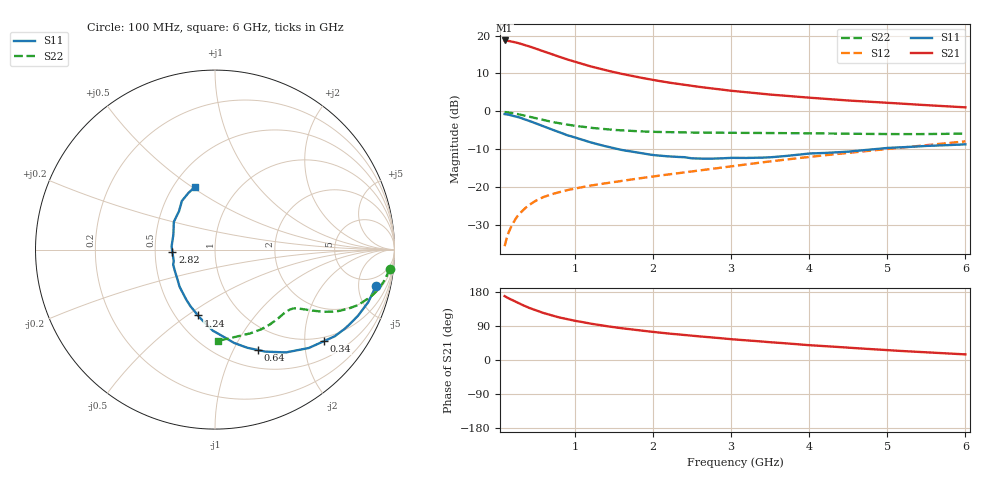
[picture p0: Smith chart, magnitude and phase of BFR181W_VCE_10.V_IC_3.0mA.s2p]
! Infineon Technologies  Discrete & RF Semiconductors
! BFR181W
! VCE =  10. V,  IC =  3.0 mA
! Common Emitter S-Parameters:  Nov 2015
# GHz  S  MA  R  50
!  f  S11  S21  S12  S22
! GHz  MAG  ANG  MAG  ANG  MAG  ANG  MAG  ANG
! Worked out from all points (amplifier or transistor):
!   192 points, 100 MHz to 6 GHz, reference 50 ohm
!   highest |S21| = 18.7 dB at 100 MHz (marker M1)
!   |S21| within 3 dB of that: start of sweep to 618 MHz
!   unconditionally stable (mu >= 1): 1.931 GHz to 3.528 GHz
!   at 440 MHz: K = 0.36, MSG = 20.7 dB, |S12| = -24.4 dB
!   at 1.7 GHz: K = 0.95, MSG = 13.8 dB, |S12| = -18.1 dB
!   at 6 GHz: K = 0.81, MSG = 4.5 dB, |S12| = -7.9 dB
!   S11 on the Smith chart (normalised r, x): 100 MHz: 2.94, -7.75; 340 MHz: 0.90, -2.47; 640 MHz: 0.71, -1.26; 1.24 GHz: 0.64, -0.55; 2.82 GHz: 0.62, -0.02; 6 GHz: 0.64, +0.51
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0.1  0.919 -12.9  8.637 168.6  0.0165 81.7  0.9791 -6.3
0.15  0.9024 -19.0  8.511 162.9  0.0249 78.9  0.9656 -9.3
0.24  0.8564 -29.3  8.144 153.6  0.0378 73.3  0.9307 -14.2
0.3  0.8235 -35.9  7.839 147.8  0.0453 70.1  0.9047 -17.0
0.34  0.7938 -39.9  7.602 144.2  0.0497 68.1  0.8848 -18.6
0.4  0.7572 -46.4  7.307 138.5  0.0565 65.6  0.8563 -21.1
0.5  0.6959 -55.4  6.742 130.8  0.0658 61.8  0.8087 -24.1
0.64  0.6091 -66.8  6 121.5  0.0762 58.5  0.7504 -27.3
0.7  0.5771 -71.6  5.703 117.7  0.0799 57.3  0.7276 -28.4
0.84  0.5114 -80.9  5.101 110.5  0.0875 55.5  0.6839 -30.3
1  0.4519 -91.5  4.522 103.4  0.0952 54.3  0.6437 -31.9
1.1  0.4187 -96.6  4.215 99.9  0.0997 54.1  0.6245 -32.7
1.24  0.3792 -104.5  3.834 94.7  0.1058 53.9  0.6002 -33.7
1.4  0.3439 -113.4  3.481 89.5  0.1121 54.0  0.5789 -34.7
1.6  0.3084 -123.8  3.126 83.8  0.1205 54.7  0.56 -35.8
2.08  0.2595 -146.3  2.515 72.5  0.1411 56.6  0.5331 -39.1
2.5  0.2389 -164.1  2.159 63.8  0.1608 58.1  0.5238 -42.3
2.82  0.2377 -177.1  1.968 58.4  0.1776 59.0  0.521 -45.5
3.1  0.2418 172.6  1.826 53.4  0.1932 59.4  0.5191 -48.5
4.1  0.2788 143.3  1.488 37.9  0.2559 58.8  0.5115 -61.1
5.1  0.3312 122.4  1.278 24.7  0.3248 56.2  0.4999 -75.2
6  0.3659 108.0  1.128 14.8  0.4006 52.6  0.5086 -87.9
